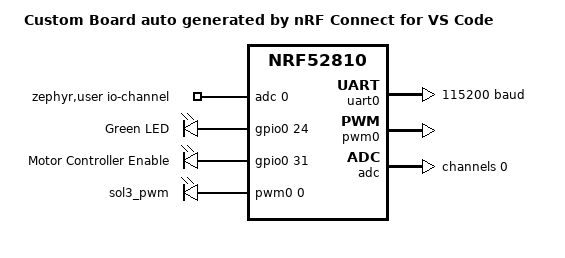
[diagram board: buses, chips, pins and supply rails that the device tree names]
/dts-v1/;
#include <nordic/nrf52810_qfaa.dtsi>
#include "nrf52810_blecar_board-pinctrl.dtsi"

/ {
	model = "Custom Board auto generated by nRF Connect for VS Code";
	compatible = "nordic_semiconductor,nrf52810-blecar-board";

	chosen {
		zephyr,console = &uart0;
		zephyr,sram = &sram0;
		zephyr,flash = &flash0;
		zephyr,code-partition = &slot0_partition;
	};

	zephyr,user {
		io-channels = <&adc 0>;
	};

	leds {
		compatible = "gpio-leds";

		led_0: led0 {
			gpios = <&gpio0 24 0>;
			label = "Green LED";
		};

		mtr_en: mtren {
			gpios = <&gpio0 31 0>;
			label = "Motor Controller Enable";
		};

	};

	pwm_control {
		compatible = "pwm-leds";
		sol3_pwm: sol3_pwm {
			pwms = <&pwm0 0 PWM_MSEC(20) PWM_POLARITY_NORMAL>;
	
		};
	};

	aliases {
		led0 = &led_0;
	};

};

&flash0 {
	partitions {
		compatible = "fixed-partitions";
		#address-cells = <1>;
		#size-cells = <1>;

		boot_partition: partition@0 {
			label = "mcuboot";
			reg = <0x00000000 DT_SIZE_K(48)>;
		};

		slot0_partition: partition@c000 {
			label = "image-0";
			reg = <0x0000c000 DT_SIZE_K(52)>;
		};

		slot1_partition: partition@19000 {
			label = "image-1";
			reg = <0x0001a000 DT_SIZE_K(52)>;
		};

		scratch_partition: partition@26000 {
			label = "image-scratch";
			reg = <0x26000 DT_SIZE_K(12)>;
		};

		storage_partition: partition@29000 {
			label = "storage";
			reg = <0x00029000 DT_SIZE_K(28)>;
		};

	};
};

&gpio0 {
	status = "okay";
};

&uart0 {
	compatible = "nordic,nrf-uarte";
	status = "okay";
	current-speed = <115200>;
	pinctrl-0 = <&uart0_default>;
	pinctrl-1 = <&uart0_sleep>;
	pinctrl-names = "default", "sleep";

};

&pwm0 {
	status = "okay";
	pinctrl-0 = <&pwm0_default>;
	pinctrl-1 = <&pwm0_sleep>;
	pinctrl-names = "default", "sleep";
};

&adc {
	status = "okay";

	#address-cells = <1>;
	#size-cells = <0>;

	channel@0 {
		reg = <0>;
		zephyr,gain = "ADC_GAIN_1_6";
		zephyr,reference = "ADC_REF_INTERNAL";
		zephyr,acquisition-time = <ADC_ACQ_TIME_DEFAULT>;
		zephyr,input-positive = <NRF_SAADC_VDD>;
		zephyr,resolution = <14>;
		zephyr,oversampling = <8>;
	};
};

